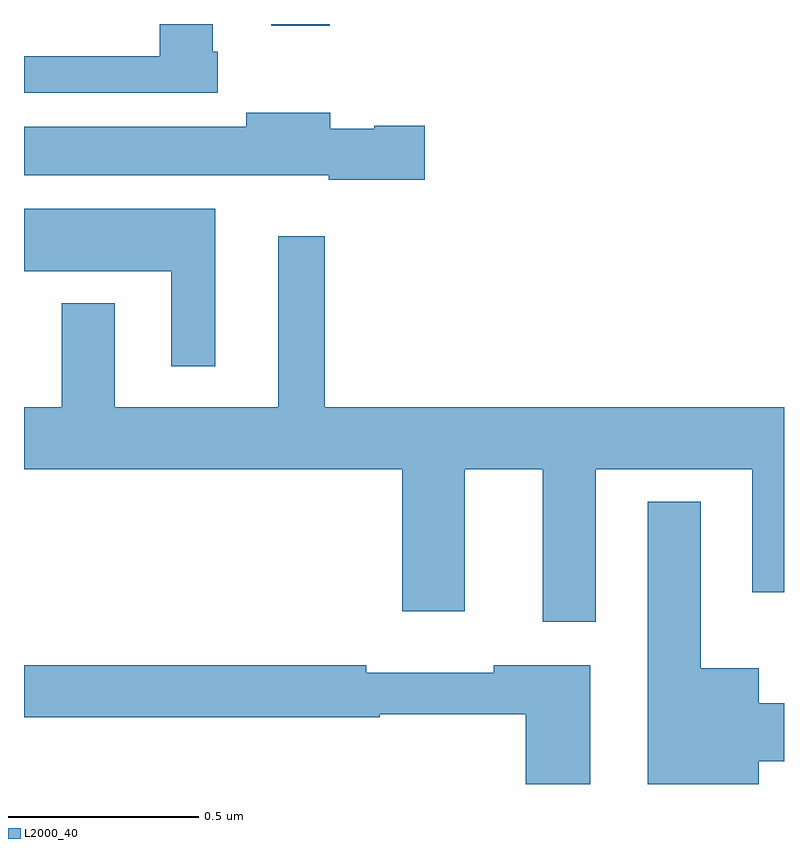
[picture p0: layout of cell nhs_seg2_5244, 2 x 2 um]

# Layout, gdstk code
import gdstk
lib = gdstk.Library(unit=1e-6, precision=1e-09)
def R(c, l, rs):  # rectangles x0, y0, x1, y1
    for r in rs: c.add(gdstk.rectangle(r[:2], r[2:], *l))
def P(c, l, *ps):  # polygons
    for p in ps: c.add(gdstk.Polygon(p, *l))
L2000_40 = (2000, 40)

nhs_seg2_5244 = lib.new_cell('nhs_seg2_5244')
R(nhs_seg2_5244, L2000_40, [(176.651,656.796,176.804,656.8)])
P(nhs_seg2_5244, L2000_40, [(176.51,656.727),(176.497,656.727),(176.497,656.8),(176.357,656.8),(176.357,656.715),(176,656.715),(176,656.619),(176.51,656.619)],
  [(177.055,656.532),(176.922,656.532),(176.922,656.524),(176.806,656.524),(176.806,656.566),(176.585,656.566),(176.585,656.53),(176,656.53),(176,656.402),(176.802,656.402),(176.802,656.39),(177.055,656.39)],
  [(176.503,656.314),(176,656.314),(176,656.15),(176.387,656.15),(176.387,655.899),(176.503,655.899)],
  [(177.505,655.628),(177.917,655.628),(177.917,655.305),(178,655.305),(178,655.792),(176.791,655.792),(176.791,656.242),(176.669,656.242),(176.669,655.792),(176.239,655.792),(176.239,656.065),(176.099,656.065),(176.099,655.792),(176,655.792),(176,655.628),(176.996,655.628),(176.996,655.254),(177.16,655.254),(177.16,655.628),(177.365,655.628),(177.365,655.227),(177.505,655.227)],
  [(177.934,654.86),(178,654.86),(178,655.012),(177.934,655.012),(177.934,655.105),(177.781,655.105),(177.781,655.543),(177.641,655.543),(177.641,654.8),(177.934,654.8)],
  [(177.49,655.112),(177.236,655.112),(177.236,655.093),(176.9,655.093),(176.9,655.112),(176,655.112),(176,654.976),(176.936,654.976),(176.936,654.984),(177.32,654.984),(177.32,654.8),(177.49,654.8)])

lib.write_gds('nhs_seg2_5244.gds')
